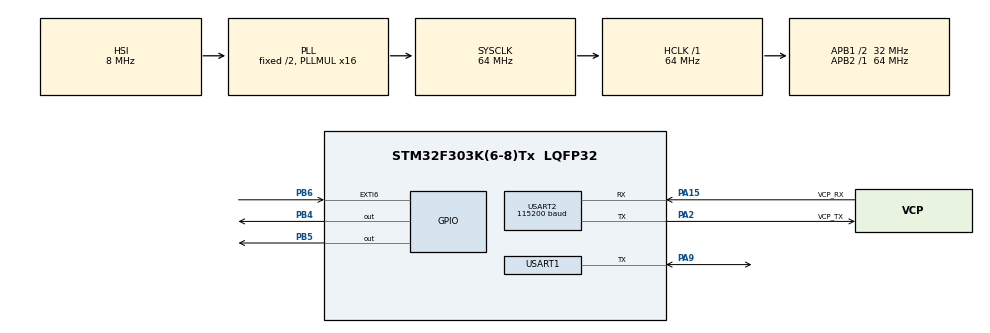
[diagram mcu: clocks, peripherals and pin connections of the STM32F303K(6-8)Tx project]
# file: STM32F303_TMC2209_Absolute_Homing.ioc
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Mcu.Family=STM32F3
Mcu.Name=STM32F303K(6-8)Tx
Mcu.Package=LQFP32
NVIC.EXTI9_5_IRQn=true\:1\:0\:true\:false\:true\:true\:true\:true
NVIC.PriorityGroup=NVIC_PRIORITYGROUP_4
NVIC.TIM3_IRQn=true\:2\:0\:true\:false\:true\:true\:true\:true
NVIC.USART2_IRQn=true\:0\:0\:true\:false\:true\:true\:true\:true
PA13.GPIO_Label=SWDIO
PA13.Mode=Serial_Wire
PA13.Signal=SYS_JTMS-SWDIO
PA14.GPIO_Label=SWCLK
PA14.Mode=Serial_Wire
PA14.Signal=SYS_JTCK-SWCLK
PA15.GPIO_Label=VCP_RX
PA15.Mode=Asynchronous
PA15.Signal=USART2_RX
PA2.GPIO_Label=VCP_TX
PA2.Mode=Asynchronous
PA2.Signal=USART2_TX
PA9.Mode=Half_duplex(single_wire_mode)
PA9.Signal=USART1_TX
PB4.Signal=GPIO_Output
PB5.Signal=GPIO_Output
PB6.GPIO_ModeDefaultEXTI=GPIO_MODE_IT_RISING_FALLING
PB6.Signal=GPXTI6
PF0\ /\ OSC_IN.GPIO_Label=MCO
PF0\ /\ OSC_IN.Signal=RCC_OSC_IN
ProjectManager.HeapSize=0x200
ProjectManager.StackSize=0x400
ProjectManager.TargetToolchain=STM32CubeIDE
RCC.AHBFreq_Value=64000000
RCC.APB1CLKDivider=RCC_HCLK_DIV2
RCC.APB1Freq_Value=32000000
RCC.APB1TimFreq_Value=64000000
RCC.APB2Freq_Value=64000000
RCC.APB2TimFreq_Value=64000000
RCC.CortexFreq_Value=64000000
RCC.HCLKFreq_Value=64000000
RCC.HSE_VALUE=8000000
RCC.HSI_VALUE=8000000
RCC.PLLMUL=RCC_PLL_MUL16
RCC.SYSCLKFreq_VALUE=64000000
RCC.SYSCLKSourceVirtual=RCC_SYSCLKSOURCE_PLLCLK
TIM3.Channel-Output\ Compare1\ No\ Output=TIM_CHANNEL_1
TIM3.Prescaler=1280-1
USART1.BaudRate=115200
USART1.VirtualMode-Half_duplex(single_wire_mode)=VM_ASYNC
USART2.BaudRate=115200
USART2.VirtualMode-Asynchronous=VM_ASYNC
VP_TIM3_VS_ClockSourceINT.Mode=Internal
VP_TIM3_VS_no_output1.Mode=Output Compare1 No Output
board=NUCLEO-F303K8

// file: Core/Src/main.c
/* USER CODE BEGIN Header */
/**
  ******************************************************************************
  * @file           : main.c
  * @brief          : Main program body
  ******************************************************************************
  * @attention
  *
  * Copyright (c) 2022 STMicroelectronics.
  * All rights reserved.
  *
  * This software is licensed under terms that can be found in the LICENSE file
  * in the root directory of this software component.
  * If no LICENSE file comes with this software, it is provided AS-IS.
  *
  ******************************************************************************
  */
/* USER CODE END Header */
#include "main.h"

/* USER CODE BEGIN Includes */
#include <stdio.h>
#include "tmc/ic/TMC2209/TMC2209.h"
#include <math.h>

/* USER CODE END Includes */

/* USER CODE BEGIN PTD */
typedef struct {
	float acceleration;
	volatile unsigned int minStepInterval;
	void (*dirFunc)(int);
	void (*stepFunc)();

	uint8_t homing;
	unsigned int c0;
	volatile int stepPosition;

	volatile int dir; // 1 or -1
	volatile int dir_inv; //set 1 to reverse the dir

	volatile int pull_off; //set pull_off distance

	volatile int seeking_vel;
	volatile int homing_vel;

	volatile unsigned int totalSteps;

	volatile char movementDone;
	volatile unsigned int rampUpStepCount;
	volatile unsigned int n; // index
	volatile float d; // current interval length
	volatile unsigned long di; // d -> unsigned  di
	volatile unsigned int stepCount;

}stepperInfo;   //stepperInfo型の構造体にメンバを格納

/* USER CODE END PTD */

/* USER CODE BEGIN PD */
#define TMC2209_CRC(data, length) tmc_CRC8(data, length, 1)

//#define NUM_STEPPERS 1

/* USER CODE END PD */

TIM_HandleTypeDef htim3;

UART_HandleTypeDef huart1;
UART_HandleTypeDef huart2;

/* USER CODE BEGIN PV */
//static TMC2209TypeDef TMC2209; //TMC2209の設定などの定義
//static ConfigurationTypeDef *TMC2209_config; //TMC2209の設定
TMC2209TypeDef TMC2209; //TMC2209の設定などの定義
ConfigurationTypeDef TMC2209_config; //TMC2209の設定

volatile stepperInfo steppers[1];    //stepperInfo型の配列stepperにNUM_STEPPERSで定義した値を代入
uint8_t end_stop_state = 0;
uint8_t homing_flag = 0;
/* USER CODE END PV */

void SystemClock_Config(void);
static void MX_GPIO_Init(void);
static void MX_USART2_UART_Init(void);
static void MX_USART1_UART_Init(void);
static void MX_TIM3_Init(void);
/* USER CODE BEGIN PFP */
//static void periodicJob(uint32_t tick);
static uint8_t reset(void);
static uint8_t restore(void);
//static TMC2209TypeDef TMC2209;

/* USER CODE END PFP */

/* USER CODE BEGIN 0 */

/*void HAL_TIM_PeriodElapsedCallback(TIM_HandleTypeDef *htim)
{
    if (htim == &htim3){ //htim3に設定したタイマー割り込みの時間で発火する
        HAL_GPIO_TogglePin(GPIOB, GPIO_PIN_5);//ピンの出力を切り替え
    }
}*/
void tmc2209_readWriteArray(uint8_t channel, uint8_t *data, size_t writeLength, size_t readLength)
{
	//set your uart read write
	//UART_readWrite(channelToUART(channel), data, writeLength, readLength);
	HAL_HalfDuplex_EnableTransmitter(&huart1);
	HAL_UART_Transmit(&huart1, data, writeLength,3000);

	if(readLength > 0){
		HAL_HalfDuplex_EnableReceiver(&huart1);
		HAL_UART_Receive(&huart1, data, readLength, 3000);
	}
}

uint8_t tmc2209_CRC8(uint8_t *data, size_t length)
{
	return TMC2209_CRC(data, length);
}

//static void periodicJob(uint32_t tick)
//{
//
//	tmc2209_periodicJob(&TMC2209, tick);
//
//	//StepDir_periodicJob(0);
//}

static uint8_t reset()
{
	//StepDir_init(STEPDIR_PRECISION);
	//StepDir_setPins(0, Pins.STEP, Pins.DIR, Pins.DIAG);

	return tmc2209_reset(&TMC2209);
}

static uint8_t restore()
{
	return tmc2209_restore(&TMC2209);
}

void TMC2209_INIT()
{
	tmc_fillCRC8Table(0x07, true, 1);

	TMC2209_config.reset = reset;
	TMC2209_config.restore = restore;
	tmc2209_init(&TMC2209, 0, 0, &TMC2209_config, &tmc2209_defaultRegisterResetState[0]);

	//restore();
}

static inline TMC2209TypeDef *motorToIC(uint8_t motor)
{
	UNUSED(motor);

	return &TMC2209;
}

void HAL_GPIO_EXTI_Callback(uint16_t GPIO_Pin)
{

	//stepper 0 end stop senssor
	if(GPIO_Pin == GPIO_PIN_6 ){
		if(!HAL_GPIO_ReadPin(GPIOB, GPIO_PIN_6)){
			end_stop_state |= 1;
		}
		if(HAL_GPIO_ReadPin(GPIOB, GPIO_PIN_6)){
			end_stop_state &= ~1;
		}
	}
}

void Step0(){                                       //step pin
	//pull+

	HAL_GPIO_WritePin(GPIOB, GPIO_PIN_5, GPIO_PIN_RESET);
	HAL_GPIO_WritePin(GPIOB, GPIO_PIN_5, GPIO_PIN_SET);
	/*
	 * pull-
	 * HAL_GPIO_WritePin(GPIOB, GPIO_PIN_5, GPIO_PIN_SET);
	 * HAL_GPIO_WritePin(GPIOB, GPIO_PIN_5, GPIO_PIN_RESET);
	 */
}

void Dir0(int dir){
	HAL_GPIO_WritePin(GPIOB, GPIO_PIN_4, dir); //Dir0関数にdirピンを指定して格納
}

void resetStepperInfo(stepperInfo* si){    //resetStepperInfo関数に引数をstepperInfo構造隊にポイント型変数siとして与える
	si->n = 0;  //変数*siがメンバnにアクセス.した値に0を代入する
	si->d = 0;
	si->di = 0;
	si->stepCount = 0;
	si->rampUpStepCount = 0;
	si->totalSteps = 0;
	si->stepPosition = 0;
	si->movementDone = 0;
}

void resetStepper(volatile stepperInfo* si){    //resetStepper関数に引数をstepperInfo構造隊にポイント型変数siとして与える
	si->c0 = si->acceleration;      //変数*siがメンバc0にアクセス.した値に変数*siがメンバaccelerationにアクセス.した値を代入する
	si->d = si->c0;
	si->di = si->d;
	si->stepCount = 0;
	si->n = 0;
	si->rampUpStepCount = 0;
	si->movementDone = 0;
}

volatile uint8_t remainingSteppersFlag = 0; //remainingSteppersFlagをuint8_t型で定義し、初期化

void prepareMovement(int steps){
	if(steps == 0){
		return;
	}
	volatile stepperInfo* si = &steppers[0];
	if(si->dir_inv){
		si->dirFunc( steps < 0 ? 0 : 1);
		si->dir = steps > 0 ? -1:1;
	}else{
		si->dirFunc( steps < 0 ? 1 : 0);
		si->dir = steps > 0 ? 1:-1;
	}

	si->totalSteps = abs(steps);
	resetStepper(si);
	remainingSteppersFlag |= (1 << 0);

}

void prepareAbsoluteMovement(int absolute_steps){   //prepareAbsoluteMovementで与えられたステップ数だけモータを回す(main文から）
	printf("absolute_steps:%d\r\n",absolute_steps);
	volatile stepperInfo* si = &steppers[0];	//steppers[0]のアドレスをstepperInfo* si に代入
	int steps = absolute_steps - si->stepPosition;	//目標値からstepPositionを引いた値（stepposition=毎ステップカウントされるdirの値)
	printf("steps:%d\r\n",steps);
	if(steps == 0){
					return;
				}
	si->dirFunc( steps < 0 ? 1 : 0);
	si->dir = steps > 0 ? 1:-1;
	//printf("prepareAbsoluteMovement\r\n");

	si->totalSteps = abs(steps);	//stepsの値をアブソリュートでtotalstepsに格納
	printf("steps:%d\r\n",si->totalSteps);

	resetStepper(si);
	printf("steps:%d\r\n",steps);
	remainingSteppersFlag |= (1 << 0);
}

volatile uint8_t nextStepperFlag = 0;

void setNextInterruptInterval(){

	unsigned int mind = 999999;

		if( ((1 << 0)& remainingSteppersFlag) && steppers[0].di < mind ){
			mind = steppers[0].di;
		}
		nextStepperFlag = 0;

			if( (1 << 0) && steppers[0].di == mind ){
				nextStepperFlag |= (1 << 0);
			}

		__HAL_TIM_SET_COMPARE(&htim3, TIM_CHANNEL_1, mind);		//mindにコンペアを設定
			//printf("mind:%d \r\n",mind);

	if (remainingSteppersFlag == 0){
		__HAL_TIM_SET_COMPARE(&htim3, TIM_CHANNEL_1, 65500);    //65500→コンペアマッチさせない
	}

	__HAL_TIM_SET_COMPARE(&htim3, TIM_CHANNEL_1, mind);
	return;

}

void HAL_TIM_OC_DelayElapsedCallback(TIM_HandleTypeDef *htim){      //指定したコンペアを超えた時発火
	//HAL_TIM_OC_Stop_IT(&htim3, TIM_CHANNEL_1);
	unsigned int tmpCtr = __HAL_TIM_GET_COMPARE(&htim3, TIM_CHANNEL_1);	//指定されたタイマーチャンネルのコンペアを所得
	__HAL_TIM_SET_COMPARE(&htim3, TIM_CHANNEL_1, 65500);			//コンペアを65500にセット

	if( homing_flag & (1 << 0)){
				if(end_stop_state & (1 << 0)){
					remainingSteppersFlag &= ~(1 << 0);
				}
			}
	if ( ! (nextStepperFlag & (1 << 0)) ){				//nextStepperFlagが真でない(0なら)
			steppers[0].di -= tmpCtr;           //tmpCtrの値からsteppers[i].di引いた値を新しくsteppers[i].diに代入
		}
		//printf("steppers:%ld \r\n",steppers[0].di);

		volatile stepperInfo* s = &steppers[0];

		if( (s->stepCount) < (s->totalSteps) ){		//1周ごとにカウントしたstepCountがabs(steps)より小さかったら==動作が終了するまで
			s->stepFunc();
			s->stepCount++;							//カウントし続ける
			s->stepPosition += s->dir;		//dir(+もしくはー(dirの向き）を加算してstepPositionに格納
			if ( (s->stepCount) >= (s->totalSteps) ){	//stepCountがtotalStepsを超えたとき
				s->movementDone = 1;	//movementDoneを1にする
				remainingSteppersFlag &= ~(1 << 0);

			}
		}

		if (s->rampUpStepCount == 0){
			s->n++;									//sにnを代入して、nをプラス1する
			s->d = s->d - (2*s->d) / (4*s->n +1);	//加減速遅延時間
			if (s->d <= s->minStepInterval ){		//加減速遅延時間がminStepIntervalより短いなら（定数で指定）
				s->d = s->minStepInterval;			//minStepIntervalを加減速遅延時間にする
				s->rampUpStepCount = s->stepCount;	//rampUpStepCountはstepCountとする
			}
			if (s->stepCount >= (s->totalSteps / 2) ){  //目標値から現在のステップを引いた値の1/2よりstepCountが大きくなったとき
				s->rampUpStepCount = s->stepCount;		//rampUpStepCountはstepCountとする
			}
		} else if ( s->stepCount >= s->totalSteps - s->rampUpStepCount) {	//目標値から現在のステップを引いた値からrampUpStepCountを引いた値がstepCountより小さいなら
			s->d = (s->d * (4 * s->n + 1)) / (4 * s->n + 1 -2);				//減速の時のステップ
			s->n--;		//sにnを代入し、nから1を引く
		}
		s->di = s->d;	//計算結果sをstepperInfoのメンバdに代入したものをメンバdiに代入
		//printf("s->di:%ld \r\n",s->di);

	setNextInterruptInterval();

	__HAL_TIM_SET_COUNTER(&htim3, 0);

}

void sensorStateInit(){							//割り込みリセット
	if( ! HAL_GPIO_ReadPin(GPIOA, GPIO_PIN_6)){	//割り込みピンが真でない(1でない=0なら)
		end_stop_state |= 1;					//end_stop_stateに左辺か右辺が1なら1を代入
	}
}

void runAndWait(){
	setNextInterruptInterval();
	while(remainingSteppersFlag);
}

void stepperHoming(){
	homing_flag |= (1 << 0);
	//seeking
	steppers[0].minStepInterval = steppers[0].seeking_vel;	//ホームピンに反応するまでモータ回す
	prepareMovement( -100000000);
	runAndWait();
	HAL_Delay(500);
	//pull-off

	homing_flag &= ~(1 << 0);								//pull_offだけモータ回す
	prepareMovement(steppers[0].pull_off);
	runAndWait();
	HAL_Delay(500);
	//homing

	homing_flag |= (1 << 0);								//ホームピンに反応するまでモータ回す
	steppers[0].minStepInterval = steppers[0].homing_vel;
	prepareMovement( -100000000);
	runAndWait();
	HAL_Delay(500);
	//pull-off
//	homing_flag &= ~(1 << 0);
//	prepareMovement(steppers[0].pull_off);
//	runAndWait();
//	HAL_Delay(500);

	steppers[0].stepPosition = 0;
	steppers[0].homing = 1;
	steppers[0].minStepInterval = 100;
	printf("homing:\r\n");

}

void TMCsetup(){
	int32_t mstep_value = 0;
	int32_t toff_value = 0;
	int32_t microstep_value = 0;
	int32_t stanby_value = 0;
	int32_t max_value = 0;
	mstep_value = TMC2209_FIELD_READ(&TMC2209, TMC2209_GCONF, TMC2209_MSTEP_REG_SELECT_MASK,TMC2209_MSTEP_REG_SELECT_SHIFT);	//uartでのmicrostepの有効化
	printf("mstep_before : %ld\r\n", mstep_value);
	mstep_value = 1;
	TMC2209_FIELD_UPDATE(&TMC2209, TMC2209_GCONF, TMC2209_MSTEP_REG_SELECT_MASK, TMC2209_MSTEP_REG_SELECT_SHIFT,mstep_value);
	tmc2209_periodicJob(&TMC2209, HAL_GetTick());
	mstep_value=TMC2209_FIELD_READ(&TMC2209, TMC2209_GCONF, TMC2209_MSTEP_REG_SELECT_MASK, TMC2209_MSTEP_REG_SELECT_SHIFT);
	printf("mstep_after : %ld\r\n", mstep_value);

	toff_value=TMC2209_FIELD_READ(&TMC2209, TMC2209_CHOPCONF, TMC2209_TOFF_MASK, TMC2209_TOFF_SHIFT);	//保持トルクの設定
	printf("toff_before : %ld\r\n", toff_value);
	toff_value = 3;
	TMC2209_FIELD_UPDATE(&TMC2209, TMC2209_CHOPCONF, TMC2209_TOFF_MASK, TMC2209_TOFF_SHIFT,toff_value);
	tmc2209_periodicJob(&TMC2209, HAL_GetTick());
	toff_value=TMC2209_FIELD_READ(&TMC2209, TMC2209_CHOPCONF, TMC2209_TOFF_MASK, TMC2209_TOFF_SHIFT);
	printf("toff_after : %ld\r\n", toff_value);

	microstep_value = 256 >> TMC2209_FIELD_READ(&TMC2209, TMC2209_CHOPCONF, TMC2209_MRES_MASK, TMC2209_MRES_SHIFT);	//microstepの設定
	printf("microstep_before : %ld\r\n", microstep_value);
	microstep_value = 4;
	TMC2209_FIELD_UPDATE(&TMC2209, TMC2209_CHOPCONF, TMC2209_MRES_MASK, TMC2209_MRES_SHIFT,microstep_value);
	tmc2209_periodicJob(&TMC2209, HAL_GetTick());
	microstep_value = 256 >> TMC2209_FIELD_READ(&TMC2209, TMC2209_CHOPCONF, TMC2209_MRES_MASK, TMC2209_MRES_SHIFT);
	printf("microstep_after : %ld\r\n", microstep_value);

	stanby_value=TMC2209_FIELD_READ(&TMC2209,TMC2209_IHOLD_IRUN, TMC2209_IHOLD_MASK, TMC2209_IHOLD_SHIFT);	//待機電流の設定
	printf("stanbycurrent_before: %ld\r\n", stanby_value);
	stanby_value = 10;
	TMC2209_FIELD_UPDATE(&TMC2209,TMC2209_IHOLD_IRUN, TMC2209_IHOLD_MASK, TMC2209_IHOLD_SHIFT, stanby_value);
	tmc2209_periodicJob(&TMC2209, HAL_GetTick());
	HAL_Delay(200);
	stanby_value=TMC2209_FIELD_READ(&TMC2209,TMC2209_IHOLD_IRUN, TMC2209_IHOLD_MASK, TMC2209_IHOLD_SHIFT);
	printf("stanbycurrent_after: %ld\r\n", stanby_value);

	max_value=TMC2209_FIELD_READ(&TMC2209, TMC2209_IHOLD_IRUN, TMC2209_IRUN_MASK, TMC2209_IRUN_SHIFT);	//最大電流の設定
	printf("maxumum_before: %ld\r\n", max_value);
	max_value = 10;
	TMC2209_FIELD_UPDATE(&TMC2209, TMC2209_IHOLD_IRUN, TMC2209_IRUN_MASK, TMC2209_IRUN_SHIFT, max_value);
	tmc2209_periodicJob(&TMC2209, HAL_GetTick());
	HAL_Delay(200);
	max_value=TMC2209_FIELD_READ(&TMC2209, TMC2209_IHOLD_IRUN, TMC2209_IRUN_MASK, TMC2209_IRUN_SHIFT);
	printf("maxumum_after: %ld\r\n", max_value);

}

int uartflag1=0;
char rxbuf[1];
void motorrotate()
{
	char motorrotate_TM[] ="motorrotate_TM\r\n";
	HAL_UART_Transmit(&huart2,(uint8_t *)motorrotate_TM,sizeof(motorrotate_TM),3000);

}

/* USER CODE END 0 */

int main(void)
{
  /* USER CODE BEGIN 1 */
	setbuf(stdout, NULL);
	//uint8_t buffer[256];
	//char rxbuf[1];
	char start[] ="1:front,2:back\r\n";
	char front[] ="front turn\r\n";
	char back[] ="back turn\r\n";
	char nonans[] ="Not Understand \r\n";

  /* USER CODE END 1 */

  /* MCU Configuration--------------------------------------------------------*/

  /* Reset of all peripherals, Initializes the Flash interface and the Systick. */
  HAL_Init();

  /* Configure the system clock */
  SystemClock_Config();

  /* Initialize all configured peripherals */
  MX_GPIO_Init();
  MX_USART2_UART_Init();
  MX_USART1_UART_Init();
  MX_TIM3_Init();
  /* USER CODE BEGIN 2 */
  //int getserial=0;
  TMC2209_INIT();
  TMCsetup();
  printf("Hello\r\n");

  //int i;

  HAL_UART_Receive_IT(&huart2,(uint8_t *)rxbuf, 1);		//受信割り込み開始
  if(uartflag1==1)
  {
	  uartflag1=0;
  }
  	  uartflag1=0;

   HAL_UART_Transmit(&huart2,(uint8_t *)start,sizeof(start),3000);

  //printf("Start \r\n");

  //uint8_t rxbuf[1];
   //int32_t *value=3;

   //TMC2209_FIELD_UPDATE(&TMC2209, TMC2209_CHOPCONF, TMC2209_MRES_MASK, TMC2209_MRES_SHIFT, 3 );
   //Set stepper 1
   steppers[0].dirFunc = Dir0;
   steppers[0].stepFunc = Step0;
   steppers[0].acceleration = 3000;
   steppers[0].minStepInterval = 100;
   steppers[0].homing = 0;
   steppers[0].dir_inv = 1;
   steppers[0].seeking_vel = 100;
   steppers[0].homing_vel = 200;
   steppers[0].pull_off = 500;
     //Stepper 1 enable
    //pull+
   //HAL_GPIO_WritePin(GPIOB, GPIO_PIN_10, GPIO_PIN_SET);  //ena pin
    //pull-
    //HAL_GPIO_WritePin(GPIOB, GPIO_PIN_10, GPIO_PIN_RESET);

   HAL_TIM_OC_Start_IT(&htim3, TIM_CHANNEL_1);

	rxbuf[0]=0;

  /* USER CODE END 2 */

  /* Infinite loop */
  while (1)
  {

    /* USER CODE BEGIN 3 */
	  //example read register value
	  //int32_t value = 0;

	  if (rxbuf[0] != 0){
	  		printf("rxbuf : %d\r\n",rxbuf[0]);

	  	if(rxbuf[0] == '1'){
	  		//HAL_UART_Transmit_IT(&huart2,(uint8_t *)front, sizeof(front));
	  		printf("1:start");
	  		prepareAbsoluteMovement(5000);
	  		runAndWait();
	  		HAL_Delay(100);
	  		prepareAbsoluteMovement(-5000);
	  		runAndWait();
	  		HAL_Delay(100);
	  		printf("1:end");

	  		rxbuf[0]=0;

	  		}
	  	else if(rxbuf[0] == '2'){

	  		//HAL_UART_Transmit_IT(&huart2,(uint8_t *)back, sizeof(back));
	  		stepperHoming();

	  		runAndWait();
	  		HAL_Delay(100);
	  		//HAL_Delay(100);

	  		rxbuf[0]=0;
	  	}
	  	else{
	  		HAL_UART_Transmit_IT(&huart2,(uint8_t *)nonans, sizeof(nonans));
	  		rxbuf[0]=0;
	  	}

	  }

	  //HAL_Delay(100);
  }

  /* USER CODE END 3 */
}

void SystemClock_Config(void)
{
  RCC_OscInitTypeDef RCC_OscInitStruct = {0};
  RCC_ClkInitTypeDef RCC_ClkInitStruct = {0};
  RCC_PeriphCLKInitTypeDef PeriphClkInit = {0};

  /** Initializes the RCC Oscillators according to the specified parameters
  * in the RCC_OscInitTypeDef structure.
  */
  RCC_OscInitStruct.OscillatorType = RCC_OSCILLATORTYPE_HSI;
  RCC_OscInitStruct.HSIState = RCC_HSI_ON;
  RCC_OscInitStruct.HSICalibrationValue = RCC_HSICALIBRATION_DEFAULT;
  RCC_OscInitStruct.PLL.PLLState = RCC_PLL_ON;
  RCC_OscInitStruct.PLL.PLLSource = RCC_PLLSOURCE_HSI;
  RCC_OscInitStruct.PLL.PLLMUL = RCC_PLL_MUL16;
  if (HAL_RCC_OscConfig(&RCC_OscInitStruct) != HAL_OK)
  {
    Error_Handler();
  }

  /** Initializes the CPU, AHB and APB buses clocks
  */
  RCC_ClkInitStruct.ClockType = RCC_CLOCKTYPE_HCLK|RCC_CLOCKTYPE_SYSCLK
                              |RCC_CLOCKTYPE_PCLK1|RCC_CLOCKTYPE_PCLK2;
  RCC_ClkInitStruct.SYSCLKSource = RCC_SYSCLKSOURCE_PLLCLK;
  RCC_ClkInitStruct.AHBCLKDivider = RCC_SYSCLK_DIV1;
  RCC_ClkInitStruct.APB1CLKDivider = RCC_HCLK_DIV2;
  RCC_ClkInitStruct.APB2CLKDivider = RCC_HCLK_DIV1;

  if (HAL_RCC_ClockConfig(&RCC_ClkInitStruct, FLASH_LATENCY_2) != HAL_OK)
  {
    Error_Handler();
  }
  PeriphClkInit.PeriphClockSelection = RCC_PERIPHCLK_USART1;
  PeriphClkInit.Usart1ClockSelection = RCC_USART1CLKSOURCE_PCLK1;
  if (HAL_RCCEx_PeriphCLKConfig(&PeriphClkInit) != HAL_OK)
  {
    Error_Handler();
  }
}

static void MX_TIM3_Init(void)
{

  TIM_ClockConfigTypeDef sClockSourceConfig = {0};
  TIM_MasterConfigTypeDef sMasterConfig = {0};
  TIM_OC_InitTypeDef sConfigOC = {0};

  htim3.Instance = TIM3;
  htim3.Init.Prescaler = 1280-1;
  htim3.Init.CounterMode = TIM_COUNTERMODE_UP;
  htim3.Init.Period = 65535;
  htim3.Init.ClockDivision = TIM_CLOCKDIVISION_DIV1;
  htim3.Init.AutoReloadPreload = TIM_AUTORELOAD_PRELOAD_DISABLE;
  if (HAL_TIM_Base_Init(&htim3) != HAL_OK)
  {
    Error_Handler();
  }
  sClockSourceConfig.ClockSource = TIM_CLOCKSOURCE_INTERNAL;
  if (HAL_TIM_ConfigClockSource(&htim3, &sClockSourceConfig) != HAL_OK)
  {
    Error_Handler();
  }
  if (HAL_TIM_OC_Init(&htim3) != HAL_OK)
  {
    Error_Handler();
  }
  sMasterConfig.MasterOutputTrigger = TIM_TRGO_RESET;
  sMasterConfig.MasterSlaveMode = TIM_MASTERSLAVEMODE_DISABLE;
  if (HAL_TIMEx_MasterConfigSynchronization(&htim3, &sMasterConfig) != HAL_OK)
  {
    Error_Handler();
  }
  sConfigOC.OCMode = TIM_OCMODE_TIMING;
  sConfigOC.Pulse = 0;
  sConfigOC.OCPolarity = TIM_OCPOLARITY_HIGH;
  sConfigOC.OCFastMode = TIM_OCFAST_DISABLE;
  if (HAL_TIM_OC_ConfigChannel(&htim3, &sConfigOC, TIM_CHANNEL_1) != HAL_OK)
  {
    Error_Handler();
  }

}

static void MX_USART1_UART_Init(void)
{

  huart1.Instance = USART1;
  huart1.Init.BaudRate = 115200;
  huart1.Init.WordLength = UART_WORDLENGTH_8B;
  huart1.Init.StopBits = UART_STOPBITS_1;
  huart1.Init.Parity = UART_PARITY_NONE;
  huart1.Init.Mode = UART_MODE_TX_RX;
  huart1.Init.HwFlowCtl = UART_HWCONTROL_NONE;
  huart1.Init.OverSampling = UART_OVERSAMPLING_16;
  huart1.Init.OneBitSampling = UART_ONE_BIT_SAMPLE_DISABLE;
  huart1.AdvancedInit.AdvFeatureInit = UART_ADVFEATURE_NO_INIT;
  if (HAL_HalfDuplex_Init(&huart1) != HAL_OK)
  {
    Error_Handler();
  }

}

static void MX_USART2_UART_Init(void)
{

  huart2.Instance = USART2;
  huart2.Init.BaudRate = 115200;
  huart2.Init.WordLength = UART_WORDLENGTH_8B;
  huart2.Init.StopBits = UART_STOPBITS_1;
  huart2.Init.Parity = UART_PARITY_NONE;
  huart2.Init.Mode = UART_MODE_TX_RX;
  huart2.Init.HwFlowCtl = UART_HWCONTROL_NONE;
  huart2.Init.OverSampling = UART_OVERSAMPLING_16;
  huart2.Init.OneBitSampling = UART_ONE_BIT_SAMPLE_DISABLE;
  huart2.AdvancedInit.AdvFeatureInit = UART_ADVFEATURE_NO_INIT;
  if (HAL_UART_Init(&huart2) != HAL_OK)
  {
    Error_Handler();
  }

}

static void MX_GPIO_Init(void)
{
  GPIO_InitTypeDef GPIO_InitStruct = {0};

  /* GPIO Ports Clock Enable */
  __HAL_RCC_GPIOF_CLK_ENABLE();
  __HAL_RCC_GPIOA_CLK_ENABLE();
  __HAL_RCC_GPIOB_CLK_ENABLE();

  /*Configure GPIO pin Output Level */
  HAL_GPIO_WritePin(GPIOB, GPIO_PIN_4|GPIO_PIN_5, GPIO_PIN_RESET);

  /*Configure GPIO pins : PB4 PB5 */
  GPIO_InitStruct.Pin = GPIO_PIN_4|GPIO_PIN_5;
  GPIO_InitStruct.Mode = GPIO_MODE_OUTPUT_PP;
  GPIO_InitStruct.Pull = GPIO_NOPULL;
  GPIO_InitStruct.Speed = GPIO_SPEED_FREQ_LOW;
  HAL_GPIO_Init(GPIOB, &GPIO_InitStruct);

  /*Configure GPIO pin : PB6 */
  GPIO_InitStruct.Pin = GPIO_PIN_6;
  GPIO_InitStruct.Mode = GPIO_MODE_IT_RISING_FALLING;
  GPIO_InitStruct.Pull = GPIO_NOPULL;
  HAL_GPIO_Init(GPIOB, &GPIO_InitStruct);

  /* EXTI interrupt init*/
  HAL_NVIC_SetPriority(EXTI9_5_IRQn, 1, 0);
  HAL_NVIC_EnableIRQ(EXTI9_5_IRQn);

}

/* USER CODE BEGIN 4 */
int _write(int file, char *ptr, int len)
{
  HAL_UART_Transmit(&huart2,(uint8_t *)ptr,len,10);
  return len;
}
void HAL_UART_RxCpltCallback(UART_HandleTypeDef *huart)
{
	motorrotate();

	HAL_UART_Receive_IT(&huart2,(uint8_t *)rxbuf, 1);
	uartflag1 = 1;

}

//int _write(int file, char *ptr, int len)
//{
//  int DataIdx;
//  for(DataIdx=0; DataIdx<len; DataIdx++)
//  {
//    ITM_SendChar(*ptr++);
//  }
//  return len;
//}

/* USER CODE END 4 */

void Error_Handler(void)
{
  __disable_irq();
  while (1)
  {
  }
}
